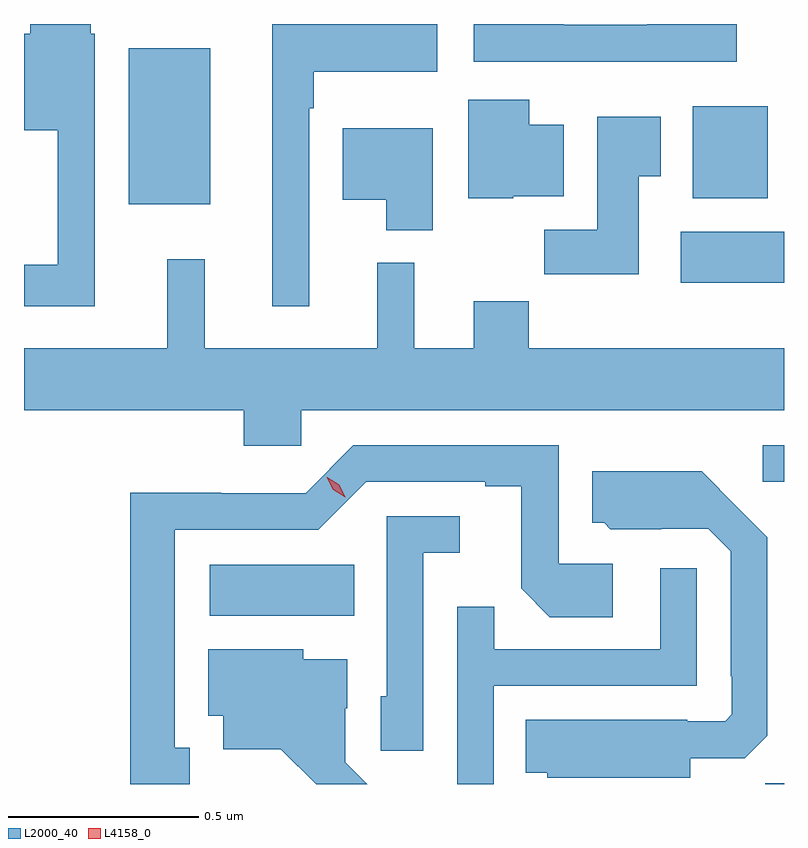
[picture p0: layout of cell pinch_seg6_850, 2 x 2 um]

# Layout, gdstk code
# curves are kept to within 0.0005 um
import gdstk
lib = gdstk.Library(unit=1e-6, precision=1e-09)
def R(c, l, rs):  # rectangles x0, y0, x1, y1
    for r in rs: c.add(gdstk.rectangle(r[:2], r[2:], *l))
def P(c, l, *ps):  # polygons
    for p in ps: c.add(gdstk.Polygon(p, *l))
L2000_40 = (2000, 40)
L4158_0 = (4158, 0)

pinch_seg6_850 = lib.new_cell('pinch_seg6_850')
R(pinch_seg6_850, L2000_40, [(152.158,975.657,152.207,975.659), (150.696,976.1,151.076,976.234), (152.151,976.452,152.207,976.548), (151.935,976.976,152.207,977.11), (150.482,977.183,150.697,977.593), (151.967,977.198,152.164,977.44)])
P(pinch_seg6_850, L2000_40, [(152.083,977.657),(151.847,977.657),(151.847,977.655),(151.627,977.655),(151.627,977.657),(151.391,977.657),(151.391,977.558),(152.083,977.558)],
  [(150.957,977.435),(150.97,977.435),(150.97,977.531),(151.294,977.531),(151.294,977.657),(150.86,977.657),(150.86,976.914),(150.957,976.914)],
  [(150.393,977.631),(150.382,977.631),(150.382,977.657),(150.224,977.657),(150.224,977.631),(150.207,977.631),(150.207,977.378),(150.296,977.378),(150.296,977.023),(150.207,977.023),(150.207,976.914),(150.393,976.914)],
  [(151.494,977.204),(151.627,977.204),(151.627,977.392),(151.537,977.392),(151.537,977.458),(151.376,977.458),(151.376,977.198),(151.494,977.198)],
  [(151.825,977.257),(151.882,977.257),(151.882,977.413),(151.715,977.413),(151.715,977.116),(151.576,977.116),(151.576,976.998),(151.825,976.998)],
  [(151.282,977.383),(151.046,977.383),(151.046,977.195),(151.16,977.195),(151.16,977.114),(151.282,977.114)],
  [(150.936,976.64),(152.207,976.64),(152.207,976.804),(151.535,976.804),(151.535,976.928),(151.391,976.928),(151.391,976.804),(151.234,976.804),(151.234,977.029),(151.136,977.029),(151.136,976.804),(150.683,976.804),(150.683,977.038),(150.584,977.038),(150.584,976.804),(150.207,976.804),(150.207,976.64),(150.785,976.64),(150.785,976.547),(150.936,976.547)],
  [(150.643,975.753),(150.604,975.753),(150.604,976.326),(150.981,976.326),(151.107,976.452),(151.421,976.452),(151.421,976.44),(151.515,976.44),(151.515,976.172),(151.591,976.096),(151.756,976.096),(151.756,976.236),(151.614,976.236),(151.614,976.548),(151.074,976.548),(150.948,976.422),(150.726,976.422),(150.726,976.424),(150.486,976.424),(150.486,975.657),(150.643,975.657)],
  [(151.96,975.725),(152.104,975.725),(152.163,975.784),(152.163,976.306),(151.991,976.48),(151.703,976.48),(151.703,976.344),(151.734,976.344),(151.75,976.328),(151.884,976.328),(151.884,976.329),(152.007,976.329),(152.067,976.269),(152.067,975.94),(152.07,975.94),(152.07,975.84),(152.052,975.822),(151.952,975.822),(151.952,975.826),(151.528,975.826),(151.528,975.686),(151.584,975.686),(151.584,975.674),(151.96,975.674)],
  [(151.257,976.265),(151.354,976.265),(151.354,976.362),(151.161,976.362),(151.161,975.888),(151.146,975.888),(151.146,975.745),(151.257,975.745)],
  [(151.443,975.915),(151.977,975.915),(151.977,976.225),(151.881,976.225),(151.881,976.011),(151.445,976.011),(151.445,976.124),(151.347,976.124),(151.347,975.657),(151.443,975.657)],
  [(151.053,975.856),(151.057,975.856),(151.057,975.985),(150.942,975.985),(150.942,976.012),(150.692,976.012),(150.692,975.836),(150.731,975.836),(150.731,975.749),(150.883,975.749),(150.976,975.657),(151.11,975.657),(151.053,975.714)])
P(pinch_seg6_850, L4158_0, [(151.052,976.411),(151.021,976.431),(151.004,976.464),(151.004,976.464),(151.005,976.464),(151.036,976.444),(151.053,976.411),(151.053,976.411)])

lib.write_gds('pinch_seg6_850.gds')
